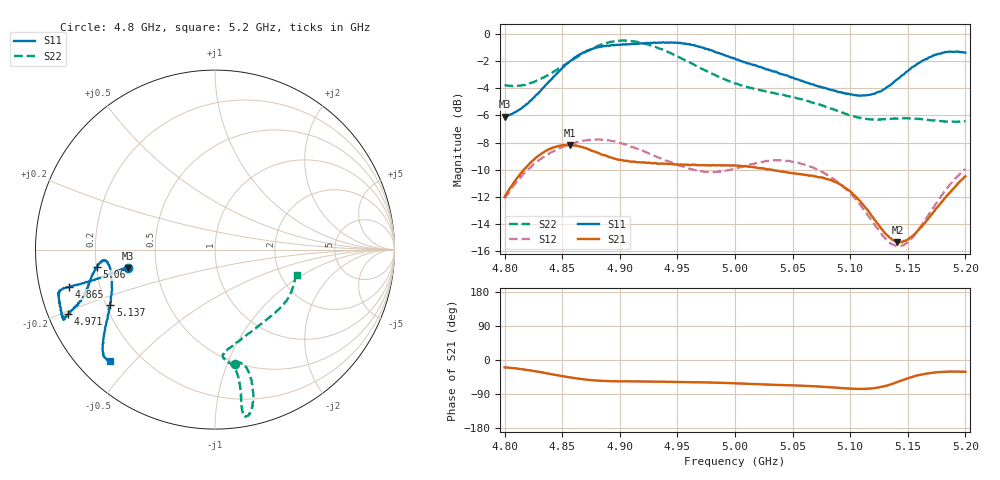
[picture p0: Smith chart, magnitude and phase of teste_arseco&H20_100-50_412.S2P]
! Network Analyzer HP8722D
! Hewlett-Packard
! Data name: Linha & Wilkinson
! Saver's name: Rodrigo Anjos
! Comments: Teste da utilização de aquisição
! continua pelo VNA HP8722D
! Time and date: 6/5/2025 16:00
!  Frequency  S11  S21  S12  S22
# HZ  S  MA R 50
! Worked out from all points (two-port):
!   401 points, 4.8 GHz to 5.2 GHz, reference 50 ohm
!   highest |S21| = -8.17 dB at 4.857 GHz (marker M1); lowest = -15.3 dB at 5.141 GHz (marker M2)
!   |S21| within 3 dB of the highest: 4.806 GHz to 5.093 GHz (286.8 MHz wide, 5.79 % of centre); 5.191947 GHz to end of sweep
!   lowest |S11| = -6.1 dB at 4.8 GHz (marker M3), VSWR 2.97, Z = 17 - j4.62 ohm
!   |S11| at or under -10 dB: nowhere
!   |S22| runs from -6.5 to -0.5 dB; largest |S21 - S12| = 0.62
!   S11 on the Smith chart (normalised r, x): 4.8 GHz: 0.34, -0.09; 4.865 GHz: 0.09, -0.12; 4.971 GHz: 0.06, -0.21; 5.06 GHz: 0.20, -0.07; 5.137 GHz: 0.22, -0.24; 5.2 GHz: 0.09, -0.43
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4.8e9  0.4961 -168.1  0.2513 -19.5  0.2479 -140.7  0.6483 -80.4
4.829e9  0.6023 -166.8  0.3548 -30.9  0.3406 -144.7  0.6766 -75.2
4.857e9  0.7947 -165.7  0.3903 -46.1  0.3931 -150.0  0.7916 -74.6
4.865e9  0.8398 -165.8  0.3856 -49.7  0.4011 -151.5  0.8324 -75.1
4.867e9  0.8471 -165.7  0.3835 -50.6  0.4034 -151.8  0.8427 -75.3
4.88e9  0.8908 -165.3  0.3663 -54.3  0.4086 -153.9  0.8998 -76.6
4.899e9  0.9108 -162.7  0.3446 -56.3  0.3986 -156.5  0.9435 -78.9
4.934e9  0.9276 -156.2  0.3328 -57.4  0.3507 -155.5  0.884 -80.3
4.949e9  0.9269 -155.3  0.3315 -57.8  0.3316 -152.9  0.8302 -80.0
4.971e9  0.8917 -156.4  0.3288 -59.2  0.312 -146.3  0.7447 -79.5
5e9  0.8119 -158.7  0.3277 -61.6  0.3199 -137.1  0.657 -81.3
5.037e9  0.7201 -165.8  0.3139 -65.8  0.3423 -134.3  0.6015 -85.6
5.06e9  0.6672 -171.6  0.3029 -68.1  0.3309 -135.9  0.5719 -84.1
5.067e9  0.6528 -172.9  0.3007 -69.0  0.3239 -136.6  0.5593 -82.7
5.086e9  0.6187 -174.4  0.2863 -72.6  0.2921 -138.2  0.5265 -75.4
5.103e9  0.5956 -171.5  0.2558 -75.9  0.2509 -138.5  0.4977 -65.3
5.134e9  0.6441 -154.3  0.1786 -65.4  0.1708 -120.7  0.4869 -43.4
5.137e9  0.6588 -152.3  0.1745 -62.5  0.1682 -117.1  0.4874 -41.5
5.141e9  0.6807 -150.1  0.1712 -58.0  0.1656 -111.9  0.4877 -39.2
5.154e9  0.7549 -144.3  0.1807 -44.6  0.1785 -95.2  0.4881 -32.3
5.173e9  0.8342 -138.7  0.2228 -33.1  0.2322 -80.7  0.4809 -24.3
5.2e9  0.8528 -133.5  0.2992 -31.3  0.3183 -76.8  0.4769 -17.5
